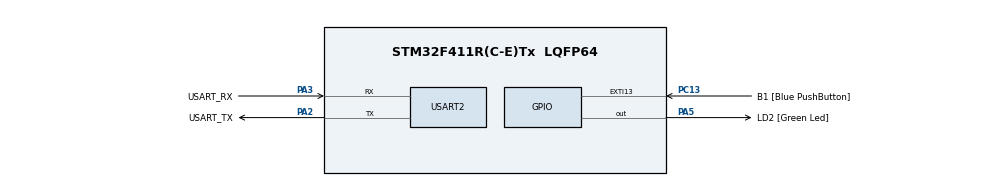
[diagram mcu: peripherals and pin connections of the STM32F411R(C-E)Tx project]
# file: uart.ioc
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Mcu.Family=STM32F4
Mcu.Name=STM32F411R(C-E)Tx
Mcu.Package=LQFP64
NVIC.PriorityGroup=NVIC_PRIORITYGROUP_0
NVIC.USART2_IRQn=true\:0\:0\:false\:false\:true\:true\:true\:true
PA13.GPIO_Label=TMS
PA13.Mode=Serial_Wire
PA13.Signal=SYS_JTMS-SWDIO
PA14.GPIO_Label=TCK
PA14.Mode=Serial_Wire
PA14.Signal=SYS_JTCK-SWCLK
PA2.GPIO_Label=USART_TX
PA2.Mode=Asynchronous
PA2.Signal=USART2_TX
PA3.GPIO_Label=USART_RX
PA3.Mode=Asynchronous
PA3.Signal=USART2_RX
PA5.GPIO_Label=LD2 [Green Led]
PA5.Signal=GPIO_Output
PB3.GPIO_Label=SWO
PB3.Signal=SYS_JTDO-SWO
PC13-ANTI_TAMP.GPIO_Label=B1 [Blue PushButton]
PC13-ANTI_TAMP.GPIO_ModeDefaultEXTI=GPIO_MODE_IT_FALLING
PC13-ANTI_TAMP.Signal=GPXTI13
PC14-OSC32_IN.Signal=RCC_OSC32_IN
PC15-OSC32_OUT.Signal=RCC_OSC32_OUT
PH0\ -\ OSC_IN.Signal=RCC_OSC_IN
PH1\ -\ OSC_OUT.Signal=RCC_OSC_OUT
ProjectManager.HeapSize=0x200
ProjectManager.StackSize=0x400
ProjectManager.TargetToolchain=STM32CubeIDE
RCC.48MHZClocksFreq_Value=84000000
RCC.AHBFreq_Value=84000000
RCC.APB1CLKDivider=RCC_HCLK_DIV2
RCC.APB1Freq_Value=42000000
RCC.APB1TimFreq_Value=84000000
RCC.APB2Freq_Value=84000000
RCC.APB2TimFreq_Value=84000000
RCC.CortexFreq_Value=84000000
RCC.FLatency-AdvancedSettings=FLASH_LATENCY_2
RCC.HCLKFreq_Value=84000000
RCC.HSE_VALUE=8000000
RCC.HSI_VALUE=16000000
RCC.PLLN=336
RCC.PLLP=RCC_PLLP_DIV4
RCC.SYSCLKFreq_VALUE=84000000
RCC.SYSCLKSource=RCC_SYSCLKSOURCE_PLLCLK
RCC.VCOOutputFreq_Value=336000000
USART2.VirtualMode=VM_ASYNC
board=NUCLEO-F411RE

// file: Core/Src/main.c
/* USER CODE BEGIN Header */
/**
 ******************************************************************************
 * @file           : main.c
 * @brief          : Main program body
 ******************************************************************************
 * @attention
 *
 * Copyright (c) 2024 STMicroelectronics.
 * All rights reserved.
 *
 * This software is licensed under terms that can be found in the LICENSE file
 * in the root directory of this software component.
 * If no LICENSE file comes with this software, it is provided AS-IS.
 *
 ******************************************************************************
 */
/* USER CODE END Header */
#include "main.h"

#include <stdio.h>
#include <math.h>

UART_HandleTypeDef huart2;

void SystemClock_Config(void);
static void MX_GPIO_Init(void);
static void MX_USART2_UART_Init(void);

/* USER CODE BEGIN 0 */
int _write(int file, char *p, int len) {
	HAL_UART_Transmit(&huart2, (uint8_t*) p, len, 10);
	return len;
}
/* USER CODE END 0 */

int main(void) {

	/* MCU Configuration--------------------------------------------------------*/

	/* Reset of all peripherals, Initializes the Flash interface and the Systick. */
	HAL_Init(); //present start point

	/* Configure the system clock */
	SystemClock_Config();

	/* Initialize all configured peripherals */
	MX_GPIO_Init();
	MX_USART2_UART_Init();

	/* Infinite loop */
	/* USER CODE BEGIN WHILE */
	while (1){
		static int angle =0;
		angle += 1;
		angle %=360;
//		int xValue = cos(angle * 3.14 / 180) * 32767; // mul 3.14/180 to change to radian
//		int yValue = sin(angle * 3.14 / 180) * 32767;
//if u want to see -1<cos<1 change int to float but it takes more memory so not recommand
		int16_t xValue = cos(angle * 3.14 / 180) * 32767; // mul 3.14/180 to change to radian
		int16_t yValue = sin(angle * 3.14 / 180) * 32767;
//i mistake in SerialPlot that input wrong baud rate. correct baud rate is 115200.
		uint8_t txBuffer[6] = {0x11, 0x22,0,0,0,0};// two bytes are only use to check
		txBuffer[2] = xValue >> 8;
		txBuffer[3] = xValue &0xff;
		txBuffer[4] = yValue >>8;
		txBuffer[5] = yValue &0xff;
		HAL_UART_Transmit(&huart2, txBuffer, 6, 1);
		HAL_Delay(10);
//		printf("%d\t%d\n", xValue, yValue);
//		HAL_Delay(1);

///// under code is multiplication table.
//		printf("please input mul table's level\n");
//		char ch =0;
//		do{
//			HAL_UART_Receive(&huart2, (uint8_t*)&ch, 1, 1);
//		} while (ch < '2' || ch > '9');
//
//		int dan = ch - 0x30; // it's very useful skill!!
//		//atoi only use at array
//
//		printf("mul table %d level\n", dan);
//		for(int i = 1; i < 10; i++){
//			printf("%d * %d = %d \n", dan, i, dan * i);
//		}
////		for(int i = 1; i < 10; i++){
////			printf("Mul table %d level\n", i);
////			for(int j = 1; j < 10; j++){
////				printf("%d * %d = %d \n", i, j, i * j);
////				HAL_Delay(1000);
//	}	while (1);
	/* USER CODE END WHILE */

	}
}

void SystemClock_Config(void) {
RCC_OscInitTypeDef RCC_OscInitStruct = { 0 };
RCC_ClkInitTypeDef RCC_ClkInitStruct = { 0 };

/** Configure the main internal regulator output voltage
 */
__HAL_RCC_PWR_CLK_ENABLE();
__HAL_PWR_VOLTAGESCALING_CONFIG(PWR_REGULATOR_VOLTAGE_SCALE1);

/** Initializes the RCC Oscillators according to the specified parameters
 * in the RCC_OscInitTypeDef structure.
 */
RCC_OscInitStruct.OscillatorType = RCC_OSCILLATORTYPE_HSI;
RCC_OscInitStruct.HSIState = RCC_HSI_ON;
RCC_OscInitStruct.HSICalibrationValue = RCC_HSICALIBRATION_DEFAULT;
RCC_OscInitStruct.PLL.PLLState = RCC_PLL_ON;
RCC_OscInitStruct.PLL.PLLSource = RCC_PLLSOURCE_HSI;
RCC_OscInitStruct.PLL.PLLM = 16;
RCC_OscInitStruct.PLL.PLLN = 336;
RCC_OscInitStruct.PLL.PLLP = RCC_PLLP_DIV4;
RCC_OscInitStruct.PLL.PLLQ = 4;
if(HAL_RCC_OscConfig(&RCC_OscInitStruct) != HAL_OK){
	Error_Handler();
}

/** Initializes the CPU, AHB and APB buses clocks
 */
RCC_ClkInitStruct.ClockType = RCC_CLOCKTYPE_HCLK | RCC_CLOCKTYPE_SYSCLK
		| RCC_CLOCKTYPE_PCLK1 | RCC_CLOCKTYPE_PCLK2;
RCC_ClkInitStruct.SYSCLKSource = RCC_SYSCLKSOURCE_PLLCLK;
RCC_ClkInitStruct.AHBCLKDivider = RCC_SYSCLK_DIV1;
RCC_ClkInitStruct.APB1CLKDivider = RCC_HCLK_DIV2;
RCC_ClkInitStruct.APB2CLKDivider = RCC_HCLK_DIV1;

if(HAL_RCC_ClockConfig(&RCC_ClkInitStruct, FLASH_LATENCY_2) != HAL_OK){
	Error_Handler();
}
}

static void MX_USART2_UART_Init(void) {

huart2.Instance = USART2;
huart2.Init.BaudRate = 115200;
huart2.Init.WordLength = UART_WORDLENGTH_8B;
huart2.Init.StopBits = UART_STOPBITS_1;
huart2.Init.Parity = UART_PARITY_NONE;
huart2.Init.Mode = UART_MODE_TX_RX;
huart2.Init.HwFlowCtl = UART_HWCONTROL_NONE;
huart2.Init.OverSampling = UART_OVERSAMPLING_16;
if(HAL_UART_Init(&huart2) != HAL_OK){
	Error_Handler();
}

}

static void MX_GPIO_Init(void) {
GPIO_InitTypeDef GPIO_InitStruct = { 0 };

/* GPIO Ports Clock Enable */
__HAL_RCC_GPIOC_CLK_ENABLE();
__HAL_RCC_GPIOH_CLK_ENABLE();
__HAL_RCC_GPIOA_CLK_ENABLE();
__HAL_RCC_GPIOB_CLK_ENABLE();

/*Configure GPIO pin Output Level */
HAL_GPIO_WritePin(LD2_GPIO_Port, LD2_Pin, GPIO_PIN_RESET);

/*Configure GPIO pin : B1_Pin */
GPIO_InitStruct.Pin = B1_Pin;
GPIO_InitStruct.Mode = GPIO_MODE_IT_FALLING;
GPIO_InitStruct.Pull = GPIO_NOPULL;
HAL_GPIO_Init(B1_GPIO_Port, &GPIO_InitStruct);

/*Configure GPIO pin : LD2_Pin */
GPIO_InitStruct.Pin = LD2_Pin;
GPIO_InitStruct.Mode = GPIO_MODE_OUTPUT_PP;
GPIO_InitStruct.Pull = GPIO_NOPULL;
GPIO_InitStruct.Speed = GPIO_SPEED_FREQ_LOW;
HAL_GPIO_Init(LD2_GPIO_Port, &GPIO_InitStruct);

}

void Error_Handler(void) {
__disable_irq();
while (1){
}
}
